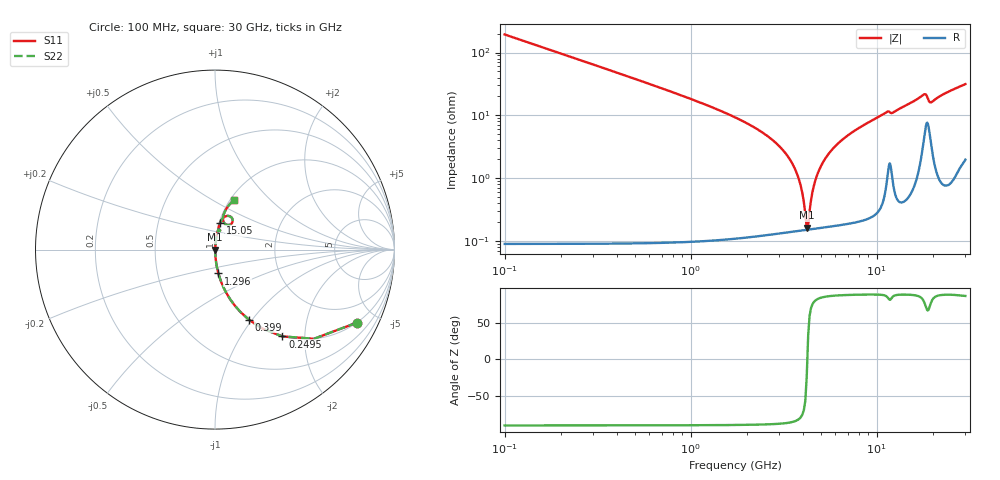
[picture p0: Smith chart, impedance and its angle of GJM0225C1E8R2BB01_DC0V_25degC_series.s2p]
!Murata Part Number: GJM0225C1E8R2BB01
!These Parameters are Measured in Series Mode Connection
!  o--ll--o
!Port1  Port2
!  o------o
!Operation Temp=25[degC], DC Bias Voltage=0[V]
!Freq. Start=100[MHz] Stop=30[GHz], 401[Steps]
!Data Generated on Feb 1, 2023
# Hz S RI R 50
!Freq.(Hz) S11(Real) S11(Imag) S21(Real) S21(Imag) S12(Real) S12(Imag) S22(Real) S22(Imag)
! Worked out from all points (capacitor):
!   401 points, 100 MHz to 30 GHz, reference 50 ohm
!   read as one part in series: C = 8.2 pF near 249.5 MHz
!   lowest |Z| = 163 mohm at 4.211 GHz (marker M1)
!   series resonance near 4.239 GHz, so ESL is about 170 pH
!   S11 on the Smith chart (normalised r, x): 100 MHz: 1.00, -3.88; 249.5 MHz: 1.00, -1.55; 399 MHz: 1.00, -0.96; 1.296 GHz: 1.00, -0.27; 15.05 GHz: 1.01, +0.31; 30 GHz: 1.04, +0.63
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1e8  0.7899 -0.4071  0.2101 0.4071  0.2101 0.4071  0.7899 -0.4071
2.495e8  0.3755 -0.4837  0.6245 0.4837  0.6245 0.4837  0.3755 -0.4837
3.99e8  0.189 -0.3906  0.811 0.3906  0.811 0.3906  0.189 -0.3906
6.98e8  0.0689 -0.2516  0.9311 0.2516  0.9311 0.2516  0.0689 -0.2516
1.296e9  0.019 -0.1329  0.981 0.1329  0.981 0.1329  0.019 -0.1329
3.389e9  0.00181 -0.0205  0.9982 0.0205  0.9982 0.0205  0.00181 -0.0205
3.8375e9  0.00154 -0.00908  0.9985 0.00908  0.9985 0.00908  0.00154 -0.00908
4.1365e9  0.0015 -0.00223  0.9985 0.00223  0.9985 0.00223  0.0015 -0.00223
4.21125e9  0.00151 -0.000601  0.9985 0.000601  0.9985 0.000601  0.00151 -0.000601
4.36075e9  0.00154 0.00258  0.9985 -0.00258  0.9985 -0.00258  0.00154 0.00258
4.585e9  0.00161 0.00715  0.9984 -0.00715  0.9984 -0.00715  0.00161 0.00715
4.7345e9  0.00168 0.0101  0.9983 -0.0101  0.9983 -0.0101  0.00168 0.0101
5.10825e9  0.00192 0.0171  0.9981 -0.0171  0.9981 -0.0171  0.00192 0.0171
5.781e9  0.00254 0.0287  0.9975 -0.0287  0.9975 -0.0287  0.00254 0.0287
6.8275e9  0.0039 0.0452  0.9961 -0.0452  0.9961 -0.0452  0.0039 0.0452
1.01165e10  0.0113 0.0915  0.9887 -0.0915  0.9887 -0.0915  0.0113 0.0915
1.505e10  0.0283 0.1497  0.9717 -0.1497  0.9717 -0.1497  0.0283 0.1497
1.804e10  0.0822 0.1858  0.9178 -0.1858  0.9178 -0.1858  0.0822 0.1858
1.9236e10  0.0707 0.1371  0.9293 -0.1371  0.9293 -0.1371  0.0707 0.1371
2.005825e10  0.0476 0.1552  0.9524 -0.1552  0.9524 -0.1552  0.0476 0.1552
2.50665e10  0.0651 0.2304  0.9349 -0.2304  0.9349 -0.2304  0.0651 0.2304
3e10  0.1043 0.2758  0.8957 -0.2758  0.8957 -0.2758  0.1043 0.2758
